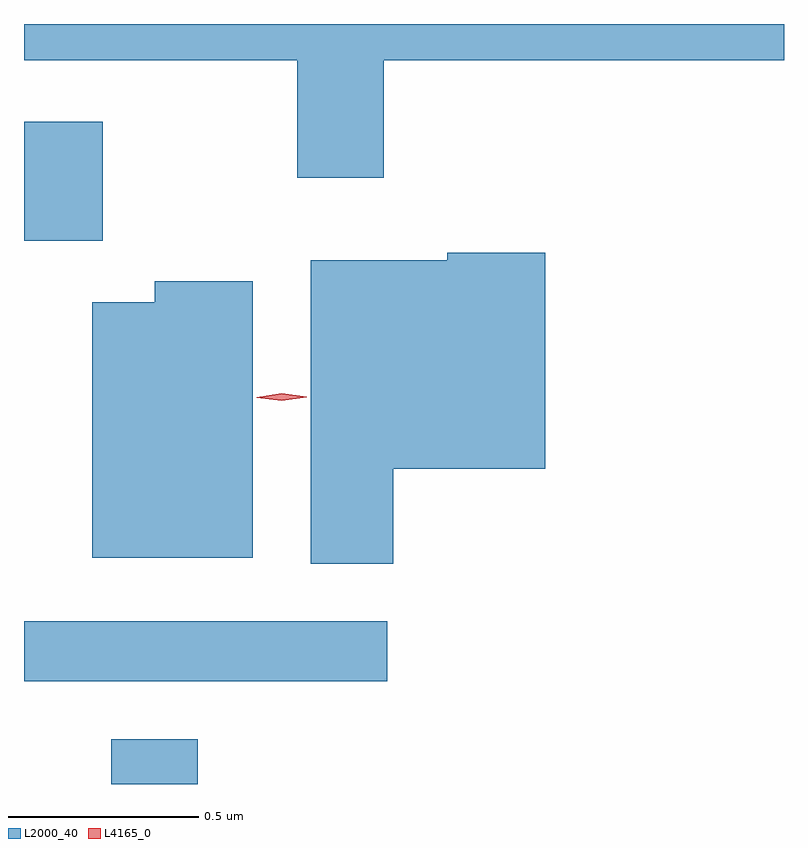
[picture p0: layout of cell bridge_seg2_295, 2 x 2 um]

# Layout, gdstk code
import gdstk
lib = gdstk.Library(unit=1e-6, precision=1e-09)
def R(c, l, rs):  # rectangles x0, y0, x1, y1
    for r in rs: c.add(gdstk.rectangle(r[:2], r[2:], *l))
def P(c, l, *ps):  # polygons
    for p in ps: c.add(gdstk.Polygon(p, *l))
L2000_40 = (2000, 40)
L4165_0 = (4165, 0)

bridge_seg2_295 = lib.new_cell('bridge_seg2_295')
R(bridge_seg2_295, L2000_40, [(599.181,1104.131,599.409,1104.249), (598.952,1104.401,599.908,1104.559), (598.952,1105.561,599.159,1105.874)])
P(bridge_seg2_295, L2000_40, [(599.899,1106.036),(600.952,1106.036),(600.952,1106.131),(598.952,1106.131),(598.952,1106.036),(599.671,1106.036),(599.671,1105.726),(599.899,1105.726)],
  [(599.924,1104.961),(600.324,1104.961),(600.324,1105.529),(600.066,1105.529),(600.066,1105.509),(599.706,1105.509),(599.706,1104.711),(599.924,1104.711)],
  [(599.554,1105.454),(599.296,1105.454),(599.296,1105.399),(599.131,1105.399),(599.131,1104.726),(599.554,1104.726)])
P(bridge_seg2_295, L4165_0, [(599.63,1105.139),(599.564,1105.148),(599.564,1105.149),(599.564,1105.149),(599.63,1105.159),(599.696,1105.15),(599.696,1105.15),(599.696,1105.149)])

lib.write_gds('bridge_seg2_295.gds')
